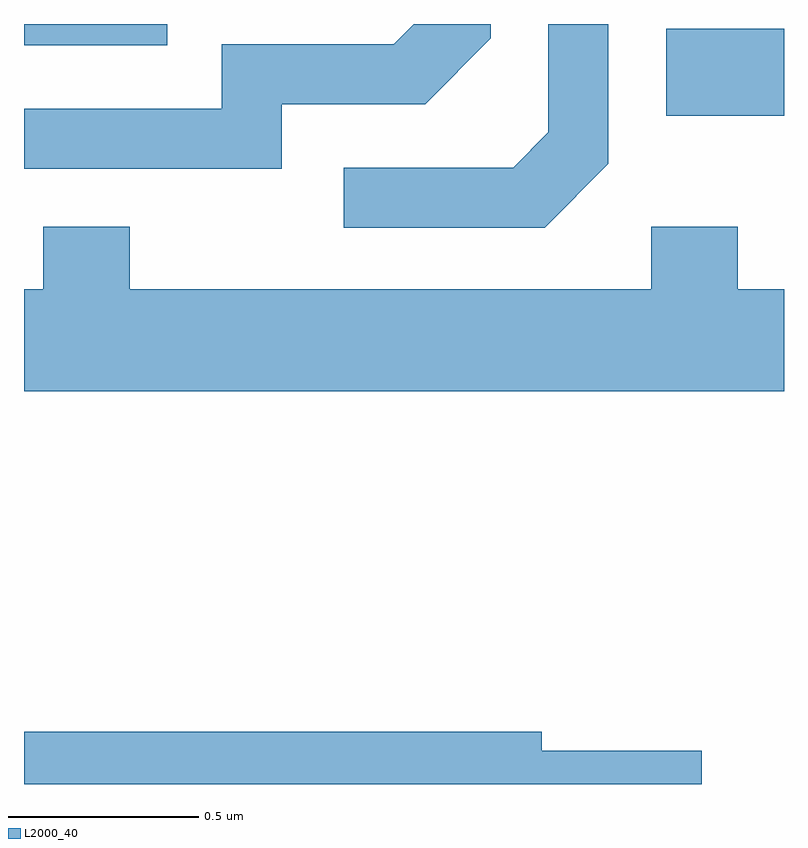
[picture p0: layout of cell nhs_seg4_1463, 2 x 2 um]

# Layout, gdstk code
import gdstk
lib = gdstk.Library(unit=1e-6, precision=1e-09)
def R(c, l, rs):  # rectangles x0, y0, x1, y1
    for r in rs: c.add(gdstk.rectangle(r[:2], r[2:], *l))
def P(c, l, *ps):  # polygons
    for p in ps: c.add(gdstk.Polygon(p, *l))
L2000_40 = (2000, 40)

nhs_seg4_1463 = lib.new_cell('nhs_seg4_1463')
R(nhs_seg4_1463, L2000_40, [(197.301,1348.741,197.611,1348.969), (195.611,1348.926,195.988,1348.982)])
P(nhs_seg4_1463, L2000_40, [(197.149,1348.614),(197.149,1348.982),(196.991,1348.982),(196.991,1348.697),(196.899,1348.604),(196.453,1348.604),(196.453,1348.446),(196.982,1348.446)],
  [(196.289,1348.771),(196.667,1348.771),(196.839,1348.944),(196.839,1348.982),(196.636,1348.982),(196.584,1348.929),(196.131,1348.929),(196.131,1348.759),(195.611,1348.759),(195.611,1348.601),(196.289,1348.601)],
  [(197.611,1348.284),(197.489,1348.284),(197.489,1348.449),(197.261,1348.449),(197.261,1348.284),(195.889,1348.284),(195.889,1348.449),(195.661,1348.449),(195.661,1348.284),(195.611,1348.284),(195.611,1348.016),(197.611,1348.016)],
  [(197.394,1347.069),(196.974,1347.069),(196.974,1347.119),(195.611,1347.119),(195.611,1346.982),(197.394,1346.982)])

lib.write_gds('nhs_seg4_1463.gds')
